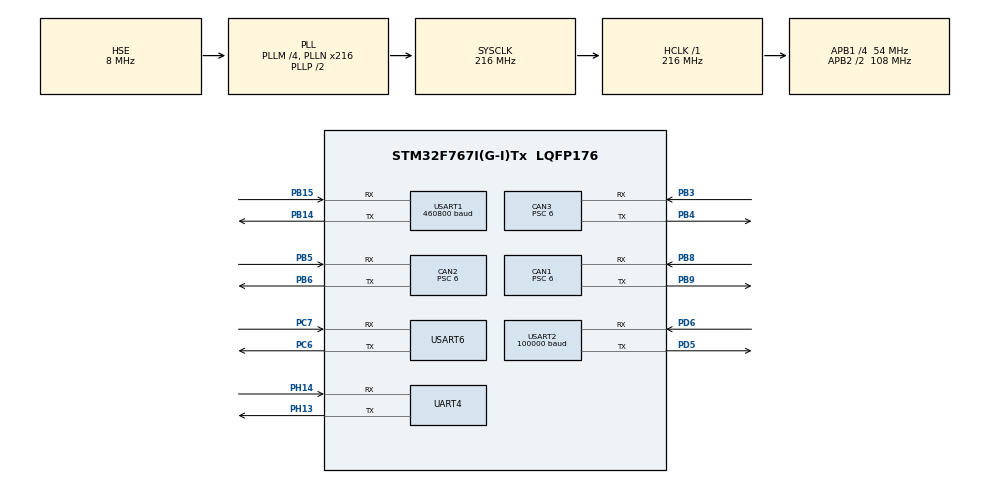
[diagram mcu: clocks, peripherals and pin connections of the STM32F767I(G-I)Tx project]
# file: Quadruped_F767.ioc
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CAN1.AWUM=ENABLE
CAN1.BS1=CAN_BS1_7TQ
CAN1.BS2=CAN_BS2_1TQ
CAN1.CalculateBaudRate=1000000
CAN1.CalculateTimeBit=1000
CAN1.CalculateTimeQuantum=111.11111111111111
CAN1.Prescaler=6
CAN2.AWUM=ENABLE
CAN2.BS1=CAN_BS1_7TQ
CAN2.BS2=CAN_BS2_1TQ
CAN2.CalculateBaudRate=1000000
CAN2.CalculateTimeBit=1000
CAN2.CalculateTimeQuantum=111.11111111111111
CAN2.Prescaler=6
CAN3.AWUM=ENABLE
CAN3.BS1=CAN_BS1_7TQ
CAN3.BS2=CAN_BS2_1TQ
CAN3.CalculateBaudRate=1000000
CAN3.CalculateTimeBit=1000
CAN3.CalculateTimeQuantum=111.11111111111111
CAN3.Prescaler=6
CORTEX_M7.default_mode_Activation=1
Dma.Request0=UART4_TX
Dma.Request1=USART1_RX
Dma.Request2=USART2_RX
Dma.Request3=USART6_RX
Dma.UART4_TX.0.Direction=DMA_MEMORY_TO_PERIPH
Dma.UART4_TX.0.FIFOMode=DMA_FIFOMODE_DISABLE
Dma.UART4_TX.0.Instance=DMA1_Stream4
Dma.UART4_TX.0.MemDataAlignment=DMA_MDATAALIGN_BYTE
Dma.UART4_TX.0.MemInc=DMA_MINC_ENABLE
Dma.UART4_TX.0.Mode=DMA_NORMAL
Dma.UART4_TX.0.PeriphDataAlignment=DMA_PDATAALIGN_BYTE
Dma.UART4_TX.0.PeriphInc=DMA_PINC_DISABLE
Dma.UART4_TX.0.Priority=DMA_PRIORITY_LOW
Dma.USART1_RX.1.Direction=DMA_PERIPH_TO_MEMORY
Dma.USART1_RX.1.FIFOMode=DMA_FIFOMODE_DISABLE
Dma.USART1_RX.1.Instance=DMA2_Stream2
Dma.USART1_RX.1.MemDataAlignment=DMA_MDATAALIGN_BYTE
Dma.USART1_RX.1.MemInc=DMA_MINC_ENABLE
Dma.USART1_RX.1.Mode=DMA_NORMAL
Dma.USART1_RX.1.PeriphDataAlignment=DMA_PDATAALIGN_BYTE
Dma.USART1_RX.1.PeriphInc=DMA_PINC_DISABLE
Dma.USART1_RX.1.Priority=DMA_PRIORITY_LOW
Dma.USART2_RX.2.Direction=DMA_PERIPH_TO_MEMORY
Dma.USART2_RX.2.FIFOMode=DMA_FIFOMODE_DISABLE
Dma.USART2_RX.2.Instance=DMA1_Stream5
Dma.USART2_RX.2.MemDataAlignment=DMA_MDATAALIGN_BYTE
Dma.USART2_RX.2.MemInc=DMA_MINC_ENABLE
Dma.USART2_RX.2.Mode=DMA_NORMAL
Dma.USART2_RX.2.PeriphDataAlignment=DMA_PDATAALIGN_BYTE
Dma.USART2_RX.2.PeriphInc=DMA_PINC_DISABLE
Dma.USART2_RX.2.Priority=DMA_PRIORITY_LOW
Dma.USART6_RX.3.Direction=DMA_PERIPH_TO_MEMORY
Dma.USART6_RX.3.FIFOMode=DMA_FIFOMODE_DISABLE
Dma.USART6_RX.3.Instance=DMA2_Stream1
Dma.USART6_RX.3.MemDataAlignment=DMA_MDATAALIGN_BYTE
Dma.USART6_RX.3.MemInc=DMA_MINC_ENABLE
Dma.USART6_RX.3.Mode=DMA_NORMAL
Dma.USART6_RX.3.PeriphDataAlignment=DMA_PDATAALIGN_BYTE
Dma.USART6_RX.3.PeriphInc=DMA_PINC_DISABLE
Dma.USART6_RX.3.Priority=DMA_PRIORITY_LOW
Mcu.Family=STM32F7
Mcu.Name=STM32F767I(G-I)Tx
Mcu.Package=LQFP176
NVIC.CAN1_RX0_IRQn=true\:0\:0\:false\:false\:true\:true\:true\:true
NVIC.CAN2_RX0_IRQn=true\:0\:0\:false\:false\:true\:true\:true\:true
NVIC.CAN3_RX0_IRQn=true\:0\:0\:false\:false\:true\:true\:true\:true
NVIC.DMA1_Stream4_IRQn=true\:0\:0\:false\:false\:true\:false\:true\:true
NVIC.DMA1_Stream5_IRQn=true\:0\:0\:false\:false\:true\:false\:true\:true
NVIC.DMA2_Stream1_IRQn=true\:0\:0\:false\:false\:true\:false\:true\:true
NVIC.DMA2_Stream2_IRQn=true\:0\:0\:false\:false\:true\:false\:true\:true
NVIC.PriorityGroup=NVIC_PRIORITYGROUP_4
NVIC.TIM1_BRK_TIM9_IRQn=true\:0\:0\:false\:false\:true\:true\:true\:true
NVIC.TIM1_UP_TIM10_IRQn=true\:0\:0\:false\:false\:true\:true\:true\:true
NVIC.TIM2_IRQn=true\:0\:0\:false\:false\:true\:true\:true\:true
NVIC.TIM3_IRQn=true\:0\:0\:false\:false\:true\:true\:true\:true
NVIC.TIM4_IRQn=true\:0\:0\:false\:false\:true\:true\:true\:true
NVIC.TIM5_IRQn=true\:0\:0\:false\:false\:true\:true\:true\:true
NVIC.TIM6_DAC_IRQn=true\:0\:0\:false\:false\:true\:true\:true\:true
NVIC.TIM7_IRQn=true\:0\:0\:false\:false\:true\:true\:true\:true
NVIC.UART4_IRQn=true\:0\:0\:false\:false\:true\:true\:true\:true
NVIC.USART1_IRQn=true\:0\:0\:false\:false\:true\:true\:true\:true
NVIC.USART2_IRQn=true\:0\:0\:false\:false\:true\:true\:true\:true
NVIC.USART6_IRQn=true\:0\:0\:false\:false\:true\:true\:true\:true
PA13.Mode=Serial_Wire
PA13.Signal=SYS_JTMS-SWDIO
PA14.Mode=Serial_Wire
PA14.Signal=SYS_JTCK-SWCLK
PB14.Mode=Asynchronous
PB14.Signal=USART1_TX
PB15.Mode=Asynchronous
PB15.Signal=USART1_RX
PB3.Mode=CAN_Activate
PB3.Signal=CAN3_RX
PB4.Mode=CAN_Activate
PB4.Signal=CAN3_TX
PB5.Mode=CAN_Activate
PB5.Signal=CAN2_RX
PB6.Mode=CAN_Activate
PB6.Signal=CAN2_TX
PB8.Mode=CAN_Activate
PB8.Signal=CAN1_RX
PB9.Mode=CAN_Activate
PB9.Signal=CAN1_TX
PC6.Mode=Asynchronous
PC6.Signal=USART6_TX
PC7.Mode=Asynchronous
PC7.Signal=USART6_RX
PD5.Mode=Asynchronous
PD5.Signal=USART2_TX
PD6.Mode=Asynchronous
PD6.Signal=USART2_RX
PH0/OSC_IN.Mode=HSE-External-Oscillator
PH0/OSC_IN.Signal=RCC_OSC_IN
PH1/OSC_OUT.Mode=HSE-External-Oscillator
PH1/OSC_OUT.Signal=RCC_OSC_OUT
PH13.Mode=Asynchronous
PH13.Signal=UART4_TX
PH14.Mode=Asynchronous
PH14.Signal=UART4_RX
ProjectManager.HeapSize=0x4000
ProjectManager.StackSize=0x2000
ProjectManager.TargetToolchain=MDK-ARM V5
RCC.AHBFreq_Value=216000000
RCC.APB1CLKDivider=RCC_HCLK_DIV4
RCC.APB1Freq_Value=54000000
RCC.APB1TimFreq_Value=108000000
RCC.APB2CLKDivider=RCC_HCLK_DIV2
RCC.APB2Freq_Value=108000000
RCC.APB2TimFreq_Value=216000000
RCC.CortexFreq_Value=216000000
RCC.HCLKFreq_Value=216000000
RCC.HSE_VALUE=8000000
RCC.HSI_VALUE=16000000
RCC.LSE_VALUE=32768
RCC.PLLM=4
RCC.PLLN=216
RCC.PLLSourceVirtual=RCC_PLLSOURCE_HSE
RCC.SYSCLKFreq_VALUE=216000000
RCC.SYSCLKSource=RCC_SYSCLKSOURCE_PLLCLK
RCC.USBFreq_Value=216000000
RCC.VCOOutputFreq_Value=432000000
TIM1.AutoReloadPreload=TIM_AUTORELOAD_PRELOAD_ENABLE
TIM1.Period=500-1
TIM1.Prescaler=216-1
TIM10.AutoReloadPreload=TIM_AUTORELOAD_PRELOAD_ENABLE
TIM10.Period=5000-1
TIM10.Prescaler=216-1
TIM2.AutoReloadPreload=TIM_AUTORELOAD_PRELOAD_ENABLE
TIM2.Period=4000-1
TIM2.Prescaler=108-1
TIM3.AutoReloadPreload=TIM_AUTORELOAD_PRELOAD_ENABLE
TIM3.Period=2000-1
TIM3.Prescaler=108-1
TIM4.AutoReloadPreload=TIM_AUTORELOAD_PRELOAD_ENABLE
TIM4.Period=3000-1
TIM4.Prescaler=108-1
TIM5.AutoReloadPreload=TIM_AUTORELOAD_PRELOAD_ENABLE
TIM5.Period=10000-1
TIM5.Prescaler=108-1
TIM6.AutoReloadPreload=TIM_AUTORELOAD_PRELOAD_ENABLE
TIM6.Period=3000-1
TIM6.Prescaler=108-1
TIM7.AutoReloadPreload=TIM_AUTORELOAD_PRELOAD_ENABLE
TIM7.Period=5000-1
TIM7.Prescaler=108-1
TIM9.AutoReloadPreload=TIM_AUTORELOAD_PRELOAD_ENABLE
TIM9.Period=1000-1
TIM9.Prescaler=216-1
USART1.BaudRate=460800
USART1.VirtualMode-Asynchronous=VM_ASYNC
USART2.BaudRate=100000
USART2.Parity=PARITY_EVEN
USART2.StopBits=STOPBITS_2
USART2.VirtualMode-Asynchronous=VM_ASYNC
USART2.WordLength=WORDLENGTH_9B
USART6.VirtualMode-Asynchronous=VM_ASYNC
VP_TIM10_VS_ClockSourceINT.Mode=Enable_Timer
VP_TIM1_VS_ClockSourceINT.Mode=Internal
VP_TIM2_VS_ClockSourceINT.Mode=Internal
VP_TIM3_VS_ClockSourceINT.Mode=Internal
VP_TIM4_VS_ClockSourceINT.Mode=Internal
VP_TIM5_VS_ClockSourceINT.Mode=Internal
VP_TIM6_VS_ClockSourceINT.Mode=Enable_Timer
VP_TIM7_VS_ClockSourceINT.Mode=Enable_Timer
VP_TIM9_VS_ClockSourceINT.Mode=Internal
board=custom

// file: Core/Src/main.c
/* USER CODE BEGIN Header */
/**
  ******************************************************************************
  * @file           : main.c
  * @brief          : Main program body
  ******************************************************************************
  * @attention
  *
  * Copyright (c) 2025 STMicroelectronics.
  * All rights reserved.
  *
  * This software is licensed under terms that can be found in the LICENSE file
  * in the root directory of this software component.
  * If no LICENSE file comes with this software, it is provided AS-IS.
  *
  ******************************************************************************
  */
/* USER CODE END Header */
#include "main.h"
#include "can.h"
#include "dma.h"
#include "tim.h"
#include "usart.h"
#include "gpio.h"

/* USER CODE BEGIN Includes */
#include "dog.h"
#include "fsm.h"
#include "timer.h"
#include "motor.h"
#include "robot_params.h"
#include "gamepad.h"
#include "arm_math.h"
#include "my_usart.h"
#include "estimator.h"
#include "force_calculate.h"
/* USER CODE END Includes */

/* USER CODE BEGIN PV */
float test_use_time_all = 0;
float test_now_time = 0;
float test_data = 0;
uint8_t get_motor_status_flag = 0;
uint8_t motor_custom_id = 8;
/* USER CODE END PV */

void SystemClock_Config(void);
static void MPU_Config(void);

int main(void)

{

  /* MPU Configuration--------------------------------------------------------*/
  MPU_Config();

  /* MCU Configuration--------------------------------------------------------*/

  /* Reset of all peripherals, Initializes the Flash interface and the Systick. */
  HAL_Init();

  /* Configure the system clock */
  SystemClock_Config();

  /* Initialize all configured peripherals */
  MX_GPIO_Init();
  MX_DMA_Init();
  MX_TIM1_Init();
  MX_USART1_UART_Init();
  MX_CAN1_Init();
  MX_CAN2_Init();
  MX_CAN3_Init();
  MX_TIM2_Init();
  MX_TIM3_Init();
  MX_TIM4_Init();
  MX_TIM5_Init();
  MX_TIM6_Init();
  MX_TIM7_Init();
  MX_TIM9_Init();
  MX_TIM10_Init();
  MX_UART4_Init();
  MX_USART2_UART_Init();
  MX_USART6_UART_Init();
  /* USER CODE BEGIN 2 */
    // 初始化
    dog_fsm_init();// 状态机初始化，注册状态
//    motor_init();// 电机初始化，循环直到电机使能完成
    timer_init();// 定时器初始化，开启状态机，电机回传等
    HAL_Delay(100); // 等待以确保接收到电机回传数据
    dog_init(NULL);// 初始化狗参数
    my_usart_init();// 初始化imu
    estimation_init();// 初始化状态观测器 暂时放在这里初始化，有可能需要先进入站立状态再初始化观测器

    // 状态机切换到初始状态
   fsm_change_to(STATE_STAND);
   HAL_Delay(1000); // 延时1s，等待状态机切换完成
   gamepad_control_init(); // 启动手柄
   estimation_start(); // 在站立状态下，开始状态观测器，站立过程可能会有影响
  /* USER CODE END 2 */

  /* Infinite loop */
  while (1)
  {

    /* USER CODE BEGIN 3 */
//      test_now_time = getTime();
//    vmc_force_calculate();
//          test_use_time_all = (getTime() - test_now_time) * 1000;
      HAL_Delay(1);
  }
  /* USER CODE END 3 */
}

void SystemClock_Config(void)
{
  RCC_OscInitTypeDef RCC_OscInitStruct = {0};
  RCC_ClkInitTypeDef RCC_ClkInitStruct = {0};

  /** Configure the main internal regulator output voltage
  */
  __HAL_RCC_PWR_CLK_ENABLE();
  __HAL_PWR_VOLTAGESCALING_CONFIG(PWR_REGULATOR_VOLTAGE_SCALE1);

  /** Initializes the RCC Oscillators according to the specified parameters
  * in the RCC_OscInitTypeDef structure.
  */
  RCC_OscInitStruct.OscillatorType = RCC_OSCILLATORTYPE_HSE;
  RCC_OscInitStruct.HSEState = RCC_HSE_ON;
  RCC_OscInitStruct.PLL.PLLState = RCC_PLL_ON;
  RCC_OscInitStruct.PLL.PLLSource = RCC_PLLSOURCE_HSE;
  RCC_OscInitStruct.PLL.PLLM = 4;
  RCC_OscInitStruct.PLL.PLLN = 216;
  RCC_OscInitStruct.PLL.PLLP = RCC_PLLP_DIV2;
  RCC_OscInitStruct.PLL.PLLQ = 2;
  RCC_OscInitStruct.PLL.PLLR = 2;
  if (HAL_RCC_OscConfig(&RCC_OscInitStruct) != HAL_OK)
  {
    Error_Handler();
  }

  /** Activate the Over-Drive mode
  */
  if (HAL_PWREx_EnableOverDrive() != HAL_OK)
  {
    Error_Handler();
  }

  /** Initializes the CPU, AHB and APB buses clocks
  */
  RCC_ClkInitStruct.ClockType = RCC_CLOCKTYPE_HCLK|RCC_CLOCKTYPE_SYSCLK
                              |RCC_CLOCKTYPE_PCLK1|RCC_CLOCKTYPE_PCLK2;
  RCC_ClkInitStruct.SYSCLKSource = RCC_SYSCLKSOURCE_PLLCLK;
  RCC_ClkInitStruct.AHBCLKDivider = RCC_SYSCLK_DIV1;
  RCC_ClkInitStruct.APB1CLKDivider = RCC_HCLK_DIV4;
  RCC_ClkInitStruct.APB2CLKDivider = RCC_HCLK_DIV2;

  if (HAL_RCC_ClockConfig(&RCC_ClkInitStruct, FLASH_LATENCY_7) != HAL_OK)
  {
    Error_Handler();
  }
}

 /* MPU Configuration */

void MPU_Config(void)
{
  MPU_Region_InitTypeDef MPU_InitStruct = {0};

  /* Disables the MPU */
  HAL_MPU_Disable();

  /** Initializes and configures the Region and the memory to be protected
  */
  MPU_InitStruct.Enable = MPU_REGION_ENABLE;
  MPU_InitStruct.Number = MPU_REGION_NUMBER0;
  MPU_InitStruct.BaseAddress = 0x0;
  MPU_InitStruct.Size = MPU_REGION_SIZE_4GB;
  MPU_InitStruct.SubRegionDisable = 0x87;
  MPU_InitStruct.TypeExtField = MPU_TEX_LEVEL0;
  MPU_InitStruct.AccessPermission = MPU_REGION_NO_ACCESS;
  MPU_InitStruct.DisableExec = MPU_INSTRUCTION_ACCESS_DISABLE;
  MPU_InitStruct.IsShareable = MPU_ACCESS_SHAREABLE;
  MPU_InitStruct.IsCacheable = MPU_ACCESS_NOT_CACHEABLE;
  MPU_InitStruct.IsBufferable = MPU_ACCESS_NOT_BUFFERABLE;

  HAL_MPU_ConfigRegion(&MPU_InitStruct);
  /* Enables the MPU */
  HAL_MPU_Enable(MPU_PRIVILEGED_DEFAULT);

}

void Error_Handler(void)
{
  __disable_irq();
  while (1)
  {
  }
}
